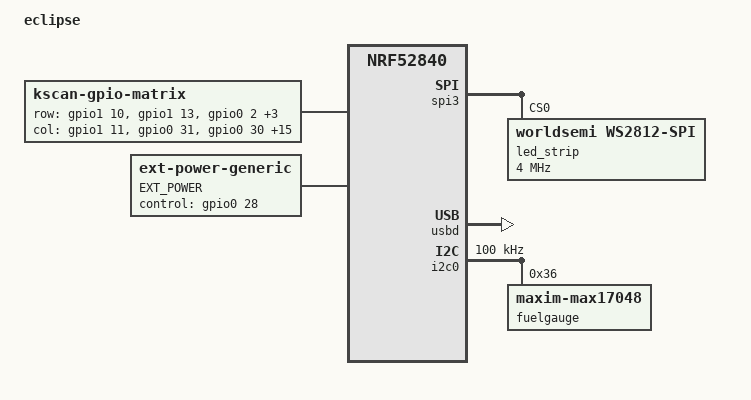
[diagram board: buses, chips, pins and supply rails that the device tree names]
/*
 * Copyright (c) 2023 The ZMK Contributors
 *
 * SPDX-License-Identifier: MIT
 */

/dts-v1/;
#include <nordic/nrf52840_qiaa.dtsi>
#include <dt-bindings/zmk/matrix_transform.h>
#include <dt-bindings/led/led.h>

#include "eclipse-transforms.dtsi"
#include "eclipse-layouts.dtsi"

/ {
    model = "eclipse";
    compatible = "eclipse";

    chosen {
        zephyr,code-partition = &code_partition;
        zephyr,sram = &sram0;
        zephyr,flash = &flash0;
        zephyr,console = &cdc_acm_uart;
        zmk,battery = &fuelgauge;
        zmk,kscan = &kscan0;
        zmk,underglow = &led_strip;
     };

    kscan0: kscan {   
        compatible = "zmk,kscan-gpio-matrix";
        label = "KSCAN";

        diode-direction = "col2row";
    
        row-gpios             
            = <&gpio1 10 (GPIO_ACTIVE_HIGH | GPIO_PULL_DOWN)>
            , <&gpio1 13 (GPIO_ACTIVE_HIGH | GPIO_PULL_DOWN)>
            , <&gpio0 2 (GPIO_ACTIVE_HIGH | GPIO_PULL_DOWN)>
            , <&gpio0 29 (GPIO_ACTIVE_HIGH | GPIO_PULL_DOWN)>
            , <&gpio1 0 (GPIO_ACTIVE_HIGH | GPIO_PULL_DOWN)>
            , <&gpio0 9 (GPIO_ACTIVE_HIGH | GPIO_PULL_DOWN)>
            ;
        col-gpios
            = <&gpio1 11 GPIO_ACTIVE_HIGH>
            , <&gpio0 31 GPIO_ACTIVE_HIGH>
            , <&gpio0 30 GPIO_ACTIVE_HIGH>
            , <&gpio0 7 GPIO_ACTIVE_HIGH>
            , <&gpio0 12 GPIO_ACTIVE_HIGH>
            , <&gpio0 8 GPIO_ACTIVE_HIGH>
            , <&gpio0 4 GPIO_ACTIVE_HIGH>
            , <&gpio0 26 GPIO_ACTIVE_HIGH>
            , <&gpio0 6 GPIO_ACTIVE_HIGH>
            , <&gpio0 15 GPIO_ACTIVE_HIGH>
            , <&gpio0 22 GPIO_ACTIVE_HIGH>
            , <&gpio0 24 GPIO_ACTIVE_HIGH>
            , <&gpio1 6 GPIO_ACTIVE_HIGH>
            , <&gpio1 4 GPIO_ACTIVE_HIGH>
            , <&gpio1 2 GPIO_ACTIVE_HIGH>
            , <&gpio0 13 GPIO_ACTIVE_HIGH>
            , <&gpio0 20 GPIO_ACTIVE_HIGH>
            , <&gpio0 17 GPIO_ACTIVE_HIGH>
            ;
    };

    ext-power {
      compatible = "zmk,ext-power-generic";
      label = "EXT_POWER";
      control-gpios = <&gpio0 28 GPIO_ACTIVE_HIGH>;
    };
};

&gpio0 {
    status = "okay";
};

&gpio1 {
    status = "okay";
};

&spi3 {
  compatible  = "nordic,nrf-spim";

  pinctrl-0 = <&spi3_default>;
  pinctrl-1 = <&spi3_sleep>;
  pinctrl-names = "default", "sleep";
  status = "okay";

  led_strip: ws2812@0 {
    compatible = "worldsemi,ws2812-spi";

    reg = <0>;
    spi-max-frequency = <4000000>;

    chain-length = <86>;
    spi-one-frame = <0x70>;
    spi-zero-frame = <0x40>;
    color-mapping = <LED_COLOR_ID_GREEN
                     LED_COLOR_ID_RED
                     LED_COLOR_ID_BLUE>;
  };
};

zephyr_udc0: &usbd {
    status = "okay";
    cdc_acm_uart: cdc_acm_uart {
        compatible = "zephyr,cdc-acm-uart";
    };
};

&i2c0 {
    status = "okay";
    compatible = "nordic,nrf-twim";
    pinctrl-0 = <&i2c0_default>;
    pinctrl-1 = <&i2c0_sleep>;
    pinctrl-names = "default", "sleep";
    clock-frequency = <100000>;

    fuelgauge: max17048@36 {
        compatible = "zmk,maxim-max17048";
        reg = <0x36>;
    };
};

&flash0 {
    partitions {
        compatible = "fixed-partitions";
        #address-cells = <1>;
        #size-cells = <1>;

        sd_partition: partition@0 {
            reg = <0x00000000 0x00026000>;
        };
        code_partition: partition@26000 {
            reg = <0x00026000 0x000c6000>;
        };

        /*
         * The flash starting at 0x000ec000 and ending at
         * 0x000f3fff is reserved for use by the application.
         */

        /*
         * Storage partition will be used by FCB/LittleFS/NVS
         * if enabled.
         */
        storage_partition: partition@ec000 {
            reg = <0x000ec000 0x00008000>;
        };

        boot_partition: partition@f4000 {
            reg = <0x000f4000 0x0000c000>;
        };
    };
};
